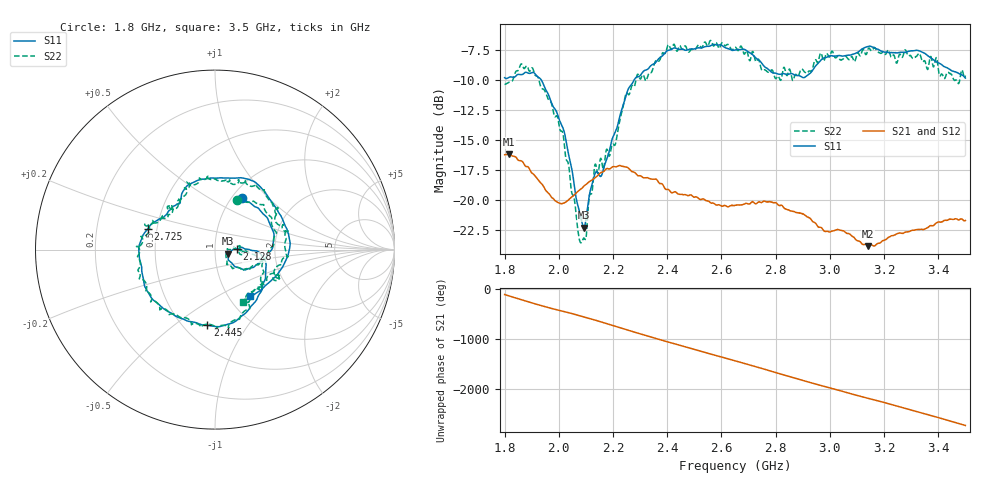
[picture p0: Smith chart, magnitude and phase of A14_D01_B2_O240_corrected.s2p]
! Created with skrf 1.9.0 (http://scikit-rf.org).
# Hz S RI R 50.0
!freq ReS11 ImS11 ReS21 ImS21 ReS12 ImS12 ReS22 ImS22
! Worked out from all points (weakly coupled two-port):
!   1601 points, 1.8 GHz to 3.5 GHz, reference 50 ohm
!   highest |S21| = -16.18 dB at 1.816 GHz (marker M1); lowest = -23.8 dB at 3.142 GHz (marker M2)
!   lowest |S11| = -22.3 dB at 2.092 GHz (marker M3), VSWR 1.17, Z = 57.8 - j2.7 ohm
!   |S11| at or under -10 dB: 1.936 GHz to 2.278 GHz (342.3 MHz wide, 16.2 % of centre)
!   |S22| runs from -23.6 to -6.7 dB; largest |S21 - S12| = 0.003
!   S11 on the Smith chart (normalised r, x): 1.8 GHz: 1.12, +0.71; 2.128 GHz: 1.28, +0.00; 2.445 GHz: 0.65, -0.67; 2.725 GHz: 0.44, +0.12; 3.5 GHz: 1.25, -0.72
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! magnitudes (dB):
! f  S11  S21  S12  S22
! 1.8 GHz  -9.8  -16.2  -16.2  -10.4
! 1.816 GHz  -9.8  -16.2  -16.2  -10.2
! 1.901 GHz  -9.4  -17.7  -17.7  -9.0
! 1.969 GHz  -11.6  -19.6  -19.6  -11.8
! 2.014 GHz  -13.9  -20.3  -20.3  -14.3
! 2.084 GHz  -21.7  -19.0  -19.0  -23.5
! 2.092 GHz  -22.3  -18.8  -18.9  -23.2
! 2.128 GHz  -18.2  -18.2  -18.2  -18.0
! 2.159 GHz  -17.9  -17.7  -17.6  -16.9
! 2.208 GHz  -14.4  -17.2  -17.2  -15.4
! 2.259 GHz  -10.6  -17.4  -17.4  -11.2
! 2.367 GHz  -8.3  -18.5  -18.4  -8.4
! 2.445 GHz  -7.4  -19.5  -19.5  -7.1
! 2.65 GHz  -7.5  -20.4  -20.4  -7.3
! 2.725 GHz  -8.1  -20.3  -20.3  -8.4
! 2.812 GHz  -9.5  -20.4  -20.3  -9.7
! 2.934 GHz  -9.3  -21.7  -21.7  -9.2
! 3.142 GHz  -7.2  -23.8  -23.7  -7.4
! 3.217 GHz  -7.7  -23.1  -23.1  -7.6
! 3.328 GHz  -7.6  -22.4  -22.4  -7.8
! 3.416 GHz  -8.8  -21.8  -21.7  -9.6
! 3.5 GHz  -9.8  -21.7  -21.7  -9.6
